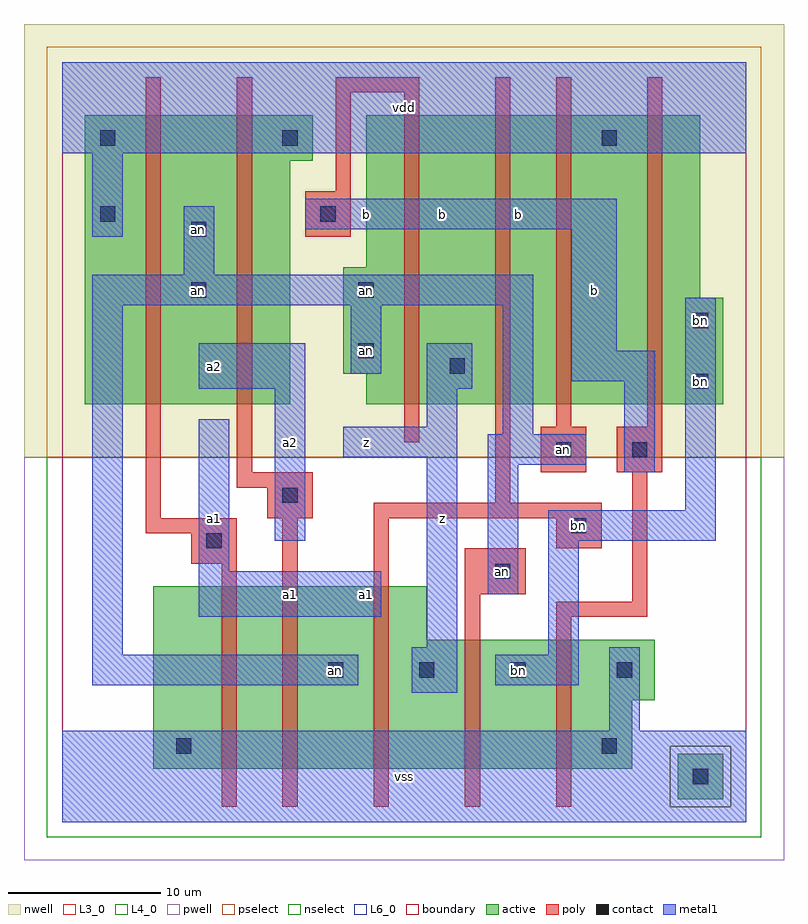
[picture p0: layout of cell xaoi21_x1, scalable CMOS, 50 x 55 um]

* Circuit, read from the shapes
.subckt xaoi21_x1 a1 a2 an b bn vdd vss z
M1 n1 a1 vss vss nfet w=12u l=1u
M2 an a2 n1 vss nfet w=12u l=1u
M3 z bn an vss nfet w=12u l=1u
M4 bn an z vss nfet w=8.5u l=1u
M5 vss b bn vss nfet w=8.5u l=1u
M6 an a1 vdd n2 pfet w=19u l=1u
M7 vdd a2 an n2 pfet w=19u l=1u
M8 z b an n2 pfet w=19u l=1u
M9 n3 bn z n2 pfet w=19u l=1u
M10 vdd an n3 n2 pfet w=19u l=1u
M11 bn b vdd n2 pfet w=19u l=1u
.ends

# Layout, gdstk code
import gdstk
lib = gdstk.Library(unit=1e-6, precision=1e-09)
def R(c, l, rs):  # rectangles x0, y0, x1, y1
    for r in rs: c.add(gdstk.rectangle(r[:2], r[2:], *l))
def A(c, l, x, y, w, h, nx, ny, dx, dy):  # array of equal rectangles
    R(c, l, [(x+i*dx, y+j*dy, x+i*dx+w, y+j*dy+h) for i in range(nx) for j in range(ny)])
L3_0 = (3, 0)
L4_0 = (4, 0)
L6_0 = (6, 0)
contact = (25, 0)
pwell = (41, 0)
nwell = (42, 0)
active = (43, 0)
pselect = (44, 0)
nselect = (45, 0)
poly = (46, 0)
metal1 = (49, 0)
boundary = (63, 0)

xaoi21_x1 = lib.new_cell('xaoi21_x1')
R(xaoi21_x1, L3_0, [(6,3.5,37.5,8), (6,8,39,12), (6,12,24,15.5)])
R(xaoi21_x1, L4_0, [(1.5,27.5,15,43.5), (20,27.5,43.5,29.5), (18.5,29.5,43.5,34.5), (18.5,34.5,42,36.5), (20,36.5,42,46.5), (1.5,43.5,16.5,46.5)])
R(xaoi21_x1, L6_0, [(40.5,1.5,43.5,4.5)])
A(xaoi21_x1, contact, 17.5, 9.5, 1, 1, 3, 1, 6, 0)
R(xaoi21_x1, contact, [(41.5,2.5,42.5,3.5), (7.5,4.5,8.5,5.5), (35.5,4.5,36.5,5.5), (36.5,9.5,37.5,10.5), (28.5,16,29.5,17), (9.5,18,10.5,19), (33.5,19,34.5,20), (14.5,21,15.5,22), (32.5,24,33.5,25), (37.5,24,38.5,25), (41.5,28.5,42.5,29.5), (25.5,29.5,26.5,30.5), (19.5,30.5,20.5,31.5), (41.5,32.5,42.5,33.5), (8.5,34.5,9.5,35.5), (19.5,34.5,20.5,35.5), (8.5,38.5,9.5,39.5), (2.5,39.5,3.5,40.5), (17,39.5,18,40.5), (2.5,44.5,3.5,45.5), (14.5,44.5,15.5,45.5), (35.5,44.5,36.5,45.5)])
R(xaoi21_x1, pwell, [(-2.5,-2.5,47.5,24)])
R(xaoi21_x1, nwell, [(-2.5,24,47.5,52.5)])
R(xaoi21_x1, active, [(40.5,1.5,43.5,4.5), (6,3.5,37.5,8), (6,8,39,12), (6,12,24,15.5), (1.5,27.5,15,43.5), (20,27.5,43.5,29.5), (18.5,29.5,43.5,34.5), (18.5,34.5,42,36.5), (20,36.5,42,46.5), (1.5,43.5,16.5,46.5)])
R(xaoi21_x1, pselect, [(40,1,44,5), (-1,24,46,51)])
R(xaoi21_x1, nselect, [(-1,-1,46,1), (-1,1,40,5), (44,1,46,5), (-1,5,46,24)])
R(xaoi21_x1, poly, [(10.5,1,11.5,17), (14.5,1,15.5,20), (20.5,1,21.5,20), (26.5,1,27.5,15), (32.5,1,33.5,13.5), (32.5,13.5,38.5,14.5), (37.5,14.5,38.5,23), (26.5,15,30.5,18), (8.5,17,11.5,19), (32.5,18,35.5,20), (5.5,19,11.5,20), (5.5,20,6.5,49), (13.5,20,16.5,22), (20.5,20,35.5,21), (28.5,21,29.5,49), (11.5,22,16.5,23), (11.5,23,12.5,49), (31.5,23,34.5,26), (36.5,23,39.5,26), (22.5,25,23.5,48), (32.5,26,33.5,49), (38.5,26,39.5,49), (16,38.5,19,41.5), (18,41.5,19,48), (18,48,23.5,49)])
R(xaoi21_x1, metal1, [(0,0,45,6), (0,0,45,6), (36,6,38,11.5), (36,6,38,11.5), (23,8.5,26,11.5), (23,8.5,26,11.5), (2,9,19.5,11), (2,9,19.5,11), (28.5,9,34,11), (28.5,9,34,11), (2,11,4,34), (2,11,4,34), (32,11,34,18.5), (32,11,34,18.5), (24,11.5,26,24), (24,11.5,26,24), (9,13.5,21,16.5), (9,13.5,21,16.5), (28,15,30,23.5), (28,15,30,23.5), (9,16.5,11,26.5), (9,16.5,11,26.5), (14,18.5,16,28.5), (14,18.5,16,28.5), (32,18.5,43,20.5), (32,18.5,43,20.5), (41,20.5,43,34.5), (41,20.5,43,34.5), (37,23,39,29), (37,23,39,29), (28,23.5,34.5,25.5), (28,23.5,34.5,25.5), (18.5,24,26,26), (18.5,24,26,26), (29,25.5,31,34), (29,25.5,31,34), (24,26,26,28.5), (24,26,26,28.5), (9,28.5,16,31.5), (9,28.5,16,31.5), (24,28.5,27,31.5), (24,28.5,27,31.5), (33.5,29,39,31), (33.5,29,39,31), (19,29.5,21,34), (19,29.5,21,34), (33.5,31,36.5,39), (33.5,31,36.5,39), (2,34,31,36), (2,34,31,36), (8,36,10,40.5), (8,36,10,40.5), (2,38.5,4,44), (2,38.5,4,44), (16,39,36.5,41), (16,39,36.5,41), (0,44,45,50), (0,44,45,50)])
R(xaoi21_x1, boundary, [(0,0,45,50)])
xaoi21_x1.add(gdstk.Label('an', (9,35), layer=49, texttype=0))
xaoi21_x1.add(gdstk.Label('an', (9,39), layer=49, texttype=0))
xaoi21_x1.add(gdstk.Label('an', (18,10), layer=49, texttype=0))
xaoi21_x1.add(gdstk.Label('an', (20,31), layer=49, texttype=0))
xaoi21_x1.add(gdstk.Label('an', (20,35), layer=49, texttype=0))
xaoi21_x1.add(gdstk.Label('bn', (30,10), layer=49, texttype=0))
xaoi21_x1.add(gdstk.Label('an', (29,16.5), layer=49, texttype=0))
xaoi21_x1.add(gdstk.Label('bn', (34,19.5), layer=49, texttype=0))
xaoi21_x1.add(gdstk.Label('an', (33,24.5), layer=49, texttype=0))
xaoi21_x1.add(gdstk.Label('bn', (42,29), layer=49, texttype=0))
xaoi21_x1.add(gdstk.Label('bn', (42,33), layer=49, texttype=0))
xaoi21_x1.add(gdstk.Label('a1', (10,20), layer=49, texttype=0))
xaoi21_x1.add(gdstk.Label('a1', (20,15), layer=49, texttype=0))
xaoi21_x1.add(gdstk.Label('a1', (15,15), layer=49, texttype=0))
xaoi21_x1.add(gdstk.Label('a2', (15,25), layer=49, texttype=0))
xaoi21_x1.add(gdstk.Label('z', (20,25), layer=49, texttype=0))
xaoi21_x1.add(gdstk.Label('a2', (10,30), layer=49, texttype=0))
xaoi21_x1.add(gdstk.Label('b', (20,40), layer=49, texttype=0))
xaoi21_x1.add(gdstk.Label('vss', (22.5,3), layer=49, texttype=0))
xaoi21_x1.add(gdstk.Label('z', (25,20), layer=49, texttype=0))
xaoi21_x1.add(gdstk.Label('vdd', (22.5,47), layer=49, texttype=0))
xaoi21_x1.add(gdstk.Label('b', (30,40), layer=49, texttype=0))
xaoi21_x1.add(gdstk.Label('b', (25,40), layer=49, texttype=0))
xaoi21_x1.add(gdstk.Label('b', (35,35), layer=49, texttype=0))

lib.write_gds('xaoi21_x1.gds')
